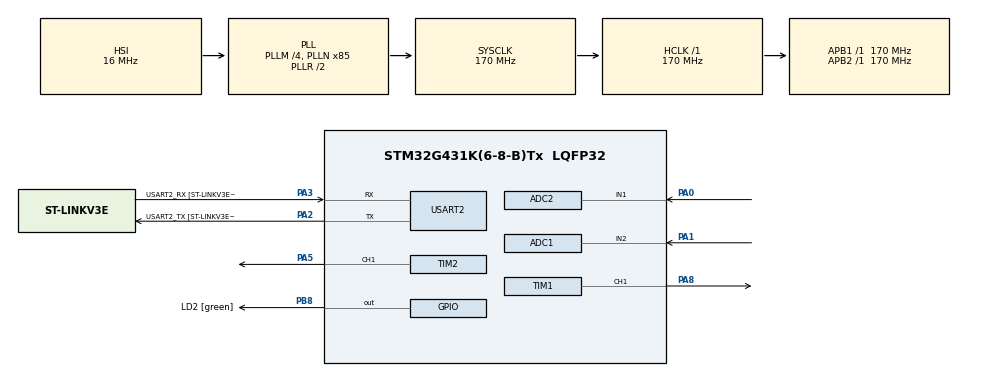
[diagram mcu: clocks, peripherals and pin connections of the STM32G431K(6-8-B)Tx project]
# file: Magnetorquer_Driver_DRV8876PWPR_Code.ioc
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ADC1.Channel-1\#ChannelRegularConversion=ADC_CHANNEL_2
ADC1.NbrOfConversionFlag=1
ADC1.OffsetNumber-1\#ChannelRegularConversion=ADC_OFFSET_NONE
ADC1.Rank-1\#ChannelRegularConversion=1
ADC1.SamplingTime-1\#ChannelRegularConversion=ADC_SAMPLETIME_2CYCLES_5
ADC1.master=1
ADC2.Channel-2\#ChannelRegularConversion=ADC_CHANNEL_1
ADC2.NbrOfConversionFlag=1
ADC2.OffsetNumber-2\#ChannelRegularConversion=ADC_OFFSET_NONE
ADC2.Rank-2\#ChannelRegularConversion=1
ADC2.SamplingTime-2\#ChannelRegularConversion=ADC_SAMPLETIME_2CYCLES_5
Mcu.Family=STM32G4
Mcu.Name=STM32G431K(6-8-B)Tx
Mcu.Package=LQFP32
NVIC.PriorityGroup=NVIC_PRIORITYGROUP_4
PA0.Mode=IN1-Single-Ended
PA0.Signal=ADC2_IN1
PA1.Mode=IN2-Single-Ended
PA1.Signal=ADC1_IN2
PA13.GPIO_Label=T_SWDIO
PA13.Mode=Serial_Wire
PA13.Signal=SYS_JTMS-SWDIO
PA14.GPIO_Label=T_SWCLK
PA14.Mode=Serial_Wire
PA14.Signal=SYS_JTCK-SWCLK
PA2.GPIO_Label=USART2_TX [ST-LINKV3E_VCP_RX]
PA2.Mode=Asynchronous
PA2.Signal=USART2_TX
PA3.GPIO_Label=USART2_RX [ST-LINKV3E_VCP_TX]
PA3.Mode=Asynchronous
PA3.Signal=USART2_RX
PA5.Signal=S_TIM2_CH1
PA8.Signal=S_TIM1_CH1
PB3.GPIO_Label=T_SWO
PB3.Signal=SYS_JTDO-SWO
PB8-BOOT0.GPIO_Label=LD2 [green]
PB8-BOOT0.Signal=GPIO_Output
ProjectManager.HeapSize=0x200
ProjectManager.StackSize=0x400
ProjectManager.TargetToolchain=STM32CubeIDE
RCC.ADC12Freq_Value=170000000
RCC.AHBFreq_Value=170000000
RCC.APB1Freq_Value=170000000
RCC.APB1TimFreq_Value=170000000
RCC.APB2Freq_Value=170000000
RCC.APB2TimFreq_Value=170000000
RCC.CortexFreq_Value=170000000
RCC.EXTERNAL_CLOCK_VALUE=12288000
RCC.HCLKFreq_Value=170000000
RCC.HSE_VALUE=8000000
RCC.HSI48_VALUE=48000000
RCC.HSI_VALUE=16000000
RCC.LSE_VALUE=32768
RCC.PLLM=RCC_PLLM_DIV4
RCC.PLLN=85
RCC.SYSCLKFreq_VALUE=170000000
RCC.SYSCLKSource=RCC_SYSCLKSOURCE_PLLCLK
RCC.USBFreq_Value=170000000
RCC.VCOOutputFreq_Value=340000000
SH.S_TIM1_CH1.0=TIM1_CH1,PWM Generation1 CH1
SH.S_TIM2_CH1.0=TIM2_CH1,PWM Generation1 CH1
TIM1.Channel-PWM\ Generation1\ CH1=TIM_CHANNEL_1
TIM1.PeriodNoDither=1000
TIM2.Channel-PWM\ Generation1\ CH1=TIM_CHANNEL_1
TIM2.PeriodNoDither=1000
USART2.VirtualMode-Asynchronous=VM_ASYNC
USART2.WordLength=WORDLENGTH_8B
board=NUCLEO-G431KB

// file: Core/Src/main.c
/* USER CODE BEGIN Header */
/**
  ******************************************************************************
  * @file           : main.c
  * @brief          : Main program body
  ******************************************************************************
  * @attention
  *
  * Copyright (c) 2023 STMicroelectronics.
  * All rights reserved.
  *
  * This software is licensed under terms that can be found in the LICENSE file
  * in the root directory of this software component.
  * If no LICENSE file comes with this software, it is provided AS-IS.
  *
  ******************************************************************************
  */
/* USER CODE END Header */
#include "main.h"

/* USER CODE BEGIN Includes */
#include <string.h>
#include <stdio.h>
#include <math.h>
#include <stdlib.h>
/* USER CODE END Includes */

ADC_HandleTypeDef hadc1;
ADC_HandleTypeDef hadc2;

TIM_HandleTypeDef htim1;
TIM_HandleTypeDef htim2;

UART_HandleTypeDef huart2;

void SystemClock_Config(void);
static void MX_GPIO_Init(void);
static void MX_USART2_UART_Init(void);
static void MX_TIM1_Init(void);
static void MX_ADC1_Init(void);
static void MX_ADC2_Init(void);
static void MX_TIM2_Init(void);
/* USER CODE BEGIN PFP */
void UART_PRINT_VAL(double value);
void UART_PRINT_TEXT(uint8_t* MSG);
/* USER CODE END PFP */

int main(void)
{

  /* MCU Configuration--------------------------------------------------------*/

  /* Reset of all peripherals, Initializes the Flash interface and the Systick. */
  HAL_Init();

  /* Configure the system clock */
  SystemClock_Config();

  /* Initialize all configured peripherals */
  MX_GPIO_Init();
  MX_USART2_UART_Init();
  MX_TIM1_Init();
  MX_ADC1_Init();
  MX_ADC2_Init();
  MX_TIM2_Init();
  /* USER CODE BEGIN 2 */

  uint16_t adc1_val;
  double adc1_value;

  uint16_t adc2_val;
  double adc2_value;

  double pwm_val;

  TIM1->CCR1 = 500;
  TIM2->CCR1 = 500;
  HAL_TIM_PWM_Start(&htim1, TIM_CHANNEL_1); // IN1 PIN (EN PIN)
  HAL_TIM_PWM_Start(&htim2, TIM_CHANNEL_1); // IN2 PIN (PH PIN)
  HAL_GPIO_WritePin(GPIOA, GPIO_PIN_0, GPIO_PIN_RESET); // PH PIN - GPIO

  /* USER CODE END 2 */

  /* Infinite loop */
  /* USER CODE BEGIN WHILE */
  while (1)
  {
	  HAL_ADC_Start(&hadc1); // START POT ADC
	  HAL_ADC_Start(&hadc2); // START IPROPI ADC
	  adc1_val = HAL_ADC_GetValue(&hadc1);
	  adc1_value = adc1_val;
	  adc2_val = HAL_ADC_GetValue(&hadc2);
	  adc2_value = adc2_val;
	  adc2_value = adc2_value * 0.01545595; // mA/bit

	  UART_PRINT_TEXT("\nCurrent output: ");
	  UART_PRINT_VAL(adc2_value);
	  //UART_PRINT_TEXT("\nADC POT reading: ");
	  //UART_PRINT_VAL(adc1_value);

	  if(adc1_value < 2048){ // reverse
//		  HAL_GPIO_WritePin(GPIOA, GPIO_PIN_0, GPIO_PIN_RESET);
		  pwm_val = 1000.0 * ((2048.0 - adc1_value) / 2048.0);
//		  __HAL_TIM_SET_COMPARE(&htim1, TIM_CHANNEL_1, pwm_val);
		  __HAL_TIM_SET_COMPARE(&htim2, TIM_CHANNEL_1, pwm_val); // IN2 = 1
		  __HAL_TIM_SET_COMPARE(&htim1,TIM_CHANNEL_1, 0); // IN1 = 0
	  }
	  else{ // forward
//		  HAL_GPIO_WritePin(GPIOA, GPIO_PIN_0, GPIO_PIN_SET);
		  pwm_val = 1000.0 * ((adc1_value - 2048.0) / 2048.0);
//		  __HAL_TIM_SET_COMPARE(&htim1, TIM_CHANNEL_1, pwm_val);
		  __HAL_TIM_SET_COMPARE(&htim1, TIM_CHANNEL_1, pwm_val); // IN1 = 1
		  __HAL_TIM_SET_COMPARE(&htim2,TIM_CHANNEL_1, 0); // IN2 = 0
	  }

    /* USER CODE END WHILE */

  }
}

void SystemClock_Config(void)
{
  RCC_OscInitTypeDef RCC_OscInitStruct = {0};
  RCC_ClkInitTypeDef RCC_ClkInitStruct = {0};

  /** Configure the main internal regulator output voltage
  */
  HAL_PWREx_ControlVoltageScaling(PWR_REGULATOR_VOLTAGE_SCALE1_BOOST);

  /** Initializes the RCC Oscillators according to the specified parameters
  * in the RCC_OscInitTypeDef structure.
  */
  RCC_OscInitStruct.OscillatorType = RCC_OSCILLATORTYPE_HSI;
  RCC_OscInitStruct.HSIState = RCC_HSI_ON;
  RCC_OscInitStruct.HSICalibrationValue = RCC_HSICALIBRATION_DEFAULT;
  RCC_OscInitStruct.PLL.PLLState = RCC_PLL_ON;
  RCC_OscInitStruct.PLL.PLLSource = RCC_PLLSOURCE_HSI;
  RCC_OscInitStruct.PLL.PLLM = RCC_PLLM_DIV4;
  RCC_OscInitStruct.PLL.PLLN = 85;
  RCC_OscInitStruct.PLL.PLLP = RCC_PLLP_DIV2;
  RCC_OscInitStruct.PLL.PLLQ = RCC_PLLQ_DIV2;
  RCC_OscInitStruct.PLL.PLLR = RCC_PLLR_DIV2;
  if (HAL_RCC_OscConfig(&RCC_OscInitStruct) != HAL_OK)
  {
    Error_Handler();
  }

  /** Initializes the CPU, AHB and APB buses clocks
  */
  RCC_ClkInitStruct.ClockType = RCC_CLOCKTYPE_HCLK|RCC_CLOCKTYPE_SYSCLK
                              |RCC_CLOCKTYPE_PCLK1|RCC_CLOCKTYPE_PCLK2;
  RCC_ClkInitStruct.SYSCLKSource = RCC_SYSCLKSOURCE_PLLCLK;
  RCC_ClkInitStruct.AHBCLKDivider = RCC_SYSCLK_DIV1;
  RCC_ClkInitStruct.APB1CLKDivider = RCC_HCLK_DIV1;
  RCC_ClkInitStruct.APB2CLKDivider = RCC_HCLK_DIV1;

  if (HAL_RCC_ClockConfig(&RCC_ClkInitStruct, FLASH_LATENCY_4) != HAL_OK)
  {
    Error_Handler();
  }
}

static void MX_ADC1_Init(void)
{

  ADC_MultiModeTypeDef multimode = {0};
  ADC_ChannelConfTypeDef sConfig = {0};

  /** Common config
  */
  hadc1.Instance = ADC1;
  hadc1.Init.ClockPrescaler = ADC_CLOCK_SYNC_PCLK_DIV4;
  hadc1.Init.Resolution = ADC_RESOLUTION_12B;
  hadc1.Init.DataAlign = ADC_DATAALIGN_RIGHT;
  hadc1.Init.GainCompensation = 0;
  hadc1.Init.ScanConvMode = ADC_SCAN_DISABLE;
  hadc1.Init.EOCSelection = ADC_EOC_SINGLE_CONV;
  hadc1.Init.LowPowerAutoWait = DISABLE;
  hadc1.Init.ContinuousConvMode = DISABLE;
  hadc1.Init.NbrOfConversion = 1;
  hadc1.Init.DiscontinuousConvMode = DISABLE;
  hadc1.Init.ExternalTrigConv = ADC_SOFTWARE_START;
  hadc1.Init.ExternalTrigConvEdge = ADC_EXTERNALTRIGCONVEDGE_NONE;
  hadc1.Init.DMAContinuousRequests = DISABLE;
  hadc1.Init.Overrun = ADC_OVR_DATA_PRESERVED;
  hadc1.Init.OversamplingMode = DISABLE;
  if (HAL_ADC_Init(&hadc1) != HAL_OK)
  {
    Error_Handler();
  }

  /** Configure the ADC multi-mode
  */
  multimode.Mode = ADC_MODE_INDEPENDENT;
  if (HAL_ADCEx_MultiModeConfigChannel(&hadc1, &multimode) != HAL_OK)
  {
    Error_Handler();
  }

  /** Configure Regular Channel
  */
  sConfig.Channel = ADC_CHANNEL_2;
  sConfig.Rank = ADC_REGULAR_RANK_1;
  sConfig.SamplingTime = ADC_SAMPLETIME_2CYCLES_5;
  sConfig.SingleDiff = ADC_SINGLE_ENDED;
  sConfig.OffsetNumber = ADC_OFFSET_NONE;
  sConfig.Offset = 0;
  if (HAL_ADC_ConfigChannel(&hadc1, &sConfig) != HAL_OK)
  {
    Error_Handler();
  }

}

static void MX_ADC2_Init(void)
{

  ADC_ChannelConfTypeDef sConfig = {0};

  /** Common config
  */
  hadc2.Instance = ADC2;
  hadc2.Init.ClockPrescaler = ADC_CLOCK_SYNC_PCLK_DIV4;
  hadc2.Init.Resolution = ADC_RESOLUTION_12B;
  hadc2.Init.DataAlign = ADC_DATAALIGN_RIGHT;
  hadc2.Init.GainCompensation = 0;
  hadc2.Init.ScanConvMode = ADC_SCAN_DISABLE;
  hadc2.Init.EOCSelection = ADC_EOC_SINGLE_CONV;
  hadc2.Init.LowPowerAutoWait = DISABLE;
  hadc2.Init.ContinuousConvMode = DISABLE;
  hadc2.Init.NbrOfConversion = 1;
  hadc2.Init.DiscontinuousConvMode = DISABLE;
  hadc2.Init.ExternalTrigConv = ADC_SOFTWARE_START;
  hadc2.Init.ExternalTrigConvEdge = ADC_EXTERNALTRIGCONVEDGE_NONE;
  hadc2.Init.DMAContinuousRequests = DISABLE;
  hadc2.Init.Overrun = ADC_OVR_DATA_PRESERVED;
  hadc2.Init.OversamplingMode = DISABLE;
  if (HAL_ADC_Init(&hadc2) != HAL_OK)
  {
    Error_Handler();
  }

  /** Configure Regular Channel
  */
  sConfig.Channel = ADC_CHANNEL_1;
  sConfig.Rank = ADC_REGULAR_RANK_1;
  sConfig.SamplingTime = ADC_SAMPLETIME_2CYCLES_5;
  sConfig.SingleDiff = ADC_SINGLE_ENDED;
  sConfig.OffsetNumber = ADC_OFFSET_NONE;
  sConfig.Offset = 0;
  if (HAL_ADC_ConfigChannel(&hadc2, &sConfig) != HAL_OK)
  {
    Error_Handler();
  }

}

static void MX_TIM1_Init(void)
{

  TIM_MasterConfigTypeDef sMasterConfig = {0};
  TIM_OC_InitTypeDef sConfigOC = {0};
  TIM_BreakDeadTimeConfigTypeDef sBreakDeadTimeConfig = {0};

  htim1.Instance = TIM1;
  htim1.Init.Prescaler = 0;
  htim1.Init.CounterMode = TIM_COUNTERMODE_UP;
  htim1.Init.Period = 1000;
  htim1.Init.ClockDivision = TIM_CLOCKDIVISION_DIV1;
  htim1.Init.RepetitionCounter = 0;
  htim1.Init.AutoReloadPreload = TIM_AUTORELOAD_PRELOAD_DISABLE;
  if (HAL_TIM_PWM_Init(&htim1) != HAL_OK)
  {
    Error_Handler();
  }
  sMasterConfig.MasterOutputTrigger = TIM_TRGO_RESET;
  sMasterConfig.MasterOutputTrigger2 = TIM_TRGO2_RESET;
  sMasterConfig.MasterSlaveMode = TIM_MASTERSLAVEMODE_DISABLE;
  if (HAL_TIMEx_MasterConfigSynchronization(&htim1, &sMasterConfig) != HAL_OK)
  {
    Error_Handler();
  }
  sConfigOC.OCMode = TIM_OCMODE_PWM1;
  sConfigOC.Pulse = 0;
  sConfigOC.OCPolarity = TIM_OCPOLARITY_HIGH;
  sConfigOC.OCNPolarity = TIM_OCNPOLARITY_HIGH;
  sConfigOC.OCFastMode = TIM_OCFAST_DISABLE;
  sConfigOC.OCIdleState = TIM_OCIDLESTATE_RESET;
  sConfigOC.OCNIdleState = TIM_OCNIDLESTATE_RESET;
  if (HAL_TIM_PWM_ConfigChannel(&htim1, &sConfigOC, TIM_CHANNEL_1) != HAL_OK)
  {
    Error_Handler();
  }
  sBreakDeadTimeConfig.OffStateRunMode = TIM_OSSR_DISABLE;
  sBreakDeadTimeConfig.OffStateIDLEMode = TIM_OSSI_DISABLE;
  sBreakDeadTimeConfig.LockLevel = TIM_LOCKLEVEL_OFF;
  sBreakDeadTimeConfig.DeadTime = 0;
  sBreakDeadTimeConfig.BreakState = TIM_BREAK_DISABLE;
  sBreakDeadTimeConfig.BreakPolarity = TIM_BREAKPOLARITY_HIGH;
  sBreakDeadTimeConfig.BreakFilter = 0;
  sBreakDeadTimeConfig.BreakAFMode = TIM_BREAK_AFMODE_INPUT;
  sBreakDeadTimeConfig.Break2State = TIM_BREAK2_DISABLE;
  sBreakDeadTimeConfig.Break2Polarity = TIM_BREAK2POLARITY_HIGH;
  sBreakDeadTimeConfig.Break2Filter = 0;
  sBreakDeadTimeConfig.Break2AFMode = TIM_BREAK_AFMODE_INPUT;
  sBreakDeadTimeConfig.AutomaticOutput = TIM_AUTOMATICOUTPUT_DISABLE;
  if (HAL_TIMEx_ConfigBreakDeadTime(&htim1, &sBreakDeadTimeConfig) != HAL_OK)
  {
    Error_Handler();
  }
  HAL_TIM_MspPostInit(&htim1);

}

static void MX_TIM2_Init(void)
{

  TIM_MasterConfigTypeDef sMasterConfig = {0};
  TIM_OC_InitTypeDef sConfigOC = {0};

  htim2.Instance = TIM2;
  htim2.Init.Prescaler = 0;
  htim2.Init.CounterMode = TIM_COUNTERMODE_UP;
  htim2.Init.Period = 1000;
  htim2.Init.ClockDivision = TIM_CLOCKDIVISION_DIV1;
  htim2.Init.AutoReloadPreload = TIM_AUTORELOAD_PRELOAD_DISABLE;
  if (HAL_TIM_PWM_Init(&htim2) != HAL_OK)
  {
    Error_Handler();
  }
  sMasterConfig.MasterOutputTrigger = TIM_TRGO_RESET;
  sMasterConfig.MasterSlaveMode = TIM_MASTERSLAVEMODE_DISABLE;
  if (HAL_TIMEx_MasterConfigSynchronization(&htim2, &sMasterConfig) != HAL_OK)
  {
    Error_Handler();
  }
  sConfigOC.OCMode = TIM_OCMODE_PWM1;
  sConfigOC.Pulse = 0;
  sConfigOC.OCPolarity = TIM_OCPOLARITY_HIGH;
  sConfigOC.OCFastMode = TIM_OCFAST_DISABLE;
  if (HAL_TIM_PWM_ConfigChannel(&htim2, &sConfigOC, TIM_CHANNEL_1) != HAL_OK)
  {
    Error_Handler();
  }
  HAL_TIM_MspPostInit(&htim2);

}

static void MX_USART2_UART_Init(void)
{

  huart2.Instance = USART2;
  huart2.Init.BaudRate = 115200;
  huart2.Init.WordLength = UART_WORDLENGTH_8B;
  huart2.Init.StopBits = UART_STOPBITS_1;
  huart2.Init.Parity = UART_PARITY_NONE;
  huart2.Init.Mode = UART_MODE_TX_RX;
  huart2.Init.HwFlowCtl = UART_HWCONTROL_NONE;
  huart2.Init.OverSampling = UART_OVERSAMPLING_16;
  huart2.Init.OneBitSampling = UART_ONE_BIT_SAMPLE_DISABLE;
  huart2.Init.ClockPrescaler = UART_PRESCALER_DIV1;
  huart2.AdvancedInit.AdvFeatureInit = UART_ADVFEATURE_NO_INIT;
  if (HAL_UART_Init(&huart2) != HAL_OK)
  {
    Error_Handler();
  }
  if (HAL_UARTEx_SetTxFifoThreshold(&huart2, UART_TXFIFO_THRESHOLD_1_8) != HAL_OK)
  {
    Error_Handler();
  }
  if (HAL_UARTEx_SetRxFifoThreshold(&huart2, UART_RXFIFO_THRESHOLD_1_8) != HAL_OK)
  {
    Error_Handler();
  }
  if (HAL_UARTEx_DisableFifoMode(&huart2) != HAL_OK)
  {
    Error_Handler();
  }

}

static void MX_GPIO_Init(void)
{
  GPIO_InitTypeDef GPIO_InitStruct = {0};

  /* GPIO Ports Clock Enable */
  __HAL_RCC_GPIOA_CLK_ENABLE();
  __HAL_RCC_GPIOB_CLK_ENABLE();

  /*Configure GPIO pin Output Level */
  HAL_GPIO_WritePin(LD2_GPIO_Port, LD2_Pin, GPIO_PIN_RESET);

  /*Configure GPIO pin : LD2_Pin */
  GPIO_InitStruct.Pin = LD2_Pin;
  GPIO_InitStruct.Mode = GPIO_MODE_OUTPUT_PP;
  GPIO_InitStruct.Pull = GPIO_NOPULL;
  GPIO_InitStruct.Speed = GPIO_SPEED_FREQ_LOW;
  HAL_GPIO_Init(LD2_GPIO_Port, &GPIO_InitStruct);

}

/* USER CODE BEGIN 4 */
void UART_PRINT_VAL(double value){
    char total[50];
    char temp[10];
    if(value < 0){
       UART_PRINT_TEXT("-");
    }
    sprintf(total, "%i", abs((int)value));
    strcat(total, ".");
    double currentVal = (value - (int) value);
    for(int a=0;a<6;a++){
        currentVal *= 10;
        sprintf(temp, "%i", abs((int)currentVal));
        strcat(total, temp);
        currentVal -= (int)currentVal;
    }
    HAL_UART_Transmit(&huart2, total, strlen(total), 100);
}
void UART_PRINT_TEXT(uint8_t* MSG){
	HAL_UART_Transmit(&huart2, MSG, strlen(MSG), 100);
}
/* USER CODE END 4 */

void Error_Handler(void)
{
  __disable_irq();
  while (1)
  {
  }
}
